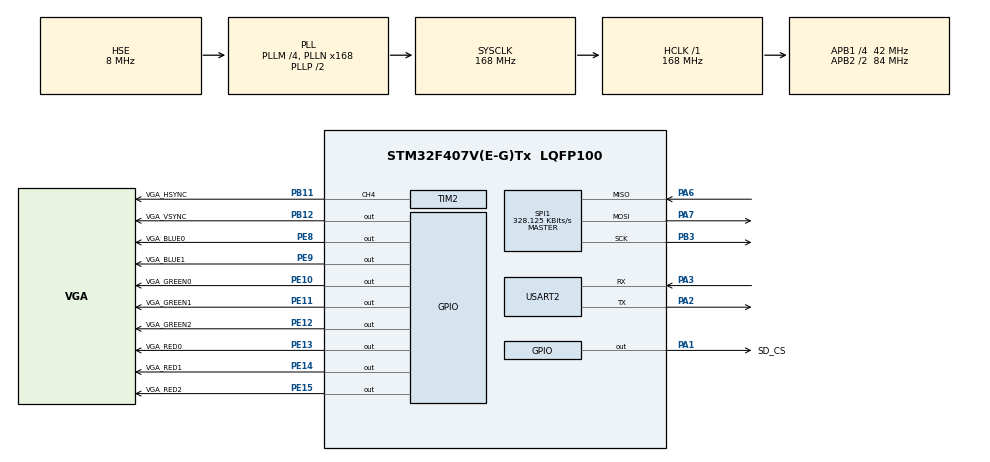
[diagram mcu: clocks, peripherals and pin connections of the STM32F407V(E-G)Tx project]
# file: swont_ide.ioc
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Dma.Request0=TIM1_UP
Dma.TIM1_UP.0.Direction=DMA_MEMORY_TO_PERIPH
Dma.TIM1_UP.0.FIFOMode=DMA_FIFOMODE_DISABLE
Dma.TIM1_UP.0.Instance=DMA2_Stream5
Dma.TIM1_UP.0.MemDataAlignment=DMA_MDATAALIGN_BYTE
Dma.TIM1_UP.0.MemInc=DMA_MINC_ENABLE
Dma.TIM1_UP.0.Mode=DMA_NORMAL
Dma.TIM1_UP.0.PeriphDataAlignment=DMA_PDATAALIGN_BYTE
Dma.TIM1_UP.0.PeriphInc=DMA_PINC_DISABLE
Dma.TIM1_UP.0.Priority=DMA_PRIORITY_VERY_HIGH
Mcu.Family=STM32F4
Mcu.Name=STM32F407V(E-G)Tx
Mcu.Package=LQFP100
NVIC.DMA2_Stream5_IRQn=true\:0\:0\:false\:false\:true\:false\:true\:true
NVIC.PriorityGroup=NVIC_PRIORITYGROUP_4
NVIC.TIM2_IRQn=true\:0\:0\:true\:false\:true\:true\:true\:true
NVIC.USART2_IRQn=true\:0\:0\:false\:false\:true\:true\:true\:true
PA1.GPIO_Label=SD_CS
PA1.GPIO_PuPd=GPIO_PULLUP
PA1.Signal=GPIO_Output
PA13.Mode=Serial_Wire
PA13.Signal=SYS_JTMS-SWDIO
PA14.Mode=Serial_Wire
PA14.Signal=SYS_JTCK-SWCLK
PA2.Mode=Asynchronous
PA2.Signal=USART2_TX
PA3.Mode=Asynchronous
PA3.Signal=USART2_RX
PA6.GPIO_PuPd=GPIO_PULLUP
PA6.Mode=Full_Duplex_Master
PA6.Signal=SPI1_MISO
PA7.GPIO_PuPd=GPIO_PULLUP
PA7.Mode=Full_Duplex_Master
PA7.Signal=SPI1_MOSI
PB11.GPIO_Label=VGA_HSYNC
PB11.GPIO_Speed=GPIO_SPEED_FREQ_VERY_HIGH
PB11.Signal=S_TIM2_CH4
PB12.GPIO_Label=VGA_VSYNC
PB12.GPIO_PuPd=GPIO_NOPULL
PB12.GPIO_Speed=GPIO_SPEED_FREQ_VERY_HIGH
PB12.Signal=GPIO_Output
PB3.GPIO_PuPd=GPIO_PULLUP
PB3.Mode=Full_Duplex_Master
PB3.Signal=SPI1_SCK
PE10.GPIO_Label=VGA_GREEN0
PE10.GPIO_PuPd=GPIO_NOPULL
PE10.GPIO_Speed=GPIO_SPEED_FREQ_VERY_HIGH
PE10.Signal=GPIO_Output
PE11.GPIO_Label=VGA_GREEN1
PE11.GPIO_PuPd=GPIO_NOPULL
PE11.GPIO_Speed=GPIO_SPEED_FREQ_VERY_HIGH
PE11.Signal=GPIO_Output
PE12.GPIO_Label=VGA_GREEN2
PE12.GPIO_PuPd=GPIO_NOPULL
PE12.GPIO_Speed=GPIO_SPEED_FREQ_VERY_HIGH
PE12.Signal=GPIO_Output
PE13.GPIO_Label=VGA_RED0
PE13.GPIO_PuPd=GPIO_NOPULL
PE13.GPIO_Speed=GPIO_SPEED_FREQ_VERY_HIGH
PE13.Signal=GPIO_Output
PE14.GPIO_Label=VGA_RED1
PE14.GPIO_PuPd=GPIO_NOPULL
PE14.GPIO_Speed=GPIO_SPEED_FREQ_VERY_HIGH
PE14.Signal=GPIO_Output
PE15.GPIO_Label=VGA_RED2
PE15.GPIO_PuPd=GPIO_NOPULL
PE15.GPIO_Speed=GPIO_SPEED_FREQ_VERY_HIGH
PE15.Signal=GPIO_Output
PE8.GPIO_Label=VGA_BLUE0
PE8.GPIO_PuPd=GPIO_NOPULL
PE8.GPIO_Speed=GPIO_SPEED_FREQ_VERY_HIGH
PE8.Signal=GPIO_Output
PE9.GPIO_Label=VGA_BLUE1
PE9.GPIO_PuPd=GPIO_NOPULL
PE9.GPIO_Speed=GPIO_SPEED_FREQ_VERY_HIGH
PE9.Signal=GPIO_Output
PH0-OSC_IN.Mode=HSE-External-Oscillator
PH0-OSC_IN.Signal=RCC_OSC_IN
PH1-OSC_OUT.Mode=HSE-External-Oscillator
PH1-OSC_OUT.Signal=RCC_OSC_OUT
ProjectManager.HeapSize=0x200
ProjectManager.StackSize=0x400
ProjectManager.TargetToolchain=STM32CubeIDE
RCC.48MHZClocksFreq_Value=48000000
RCC.AHBFreq_Value=168000000
RCC.APB1CLKDivider=RCC_HCLK_DIV4
RCC.APB1Freq_Value=42000000
RCC.APB1TimFreq_Value=84000000
RCC.APB2CLKDivider=RCC_HCLK_DIV2
RCC.APB2Freq_Value=84000000
RCC.APB2TimFreq_Value=168000000
RCC.CortexFreq_Value=168000000
RCC.HCLKFreq_Value=168000000
RCC.HSE_VALUE=8000000
RCC.HSI_VALUE=16000000
RCC.LSE_VALUE=32768
RCC.PLLM=4
RCC.PLLN=168
RCC.PLLQ=7
RCC.PLLSourceVirtual=RCC_PLLSOURCE_HSE
RCC.SYSCLKFreq_VALUE=168000000
RCC.SYSCLKSource=RCC_SYSCLKSOURCE_PLLCLK
RCC.VCOOutputFreq_Value=336000000
SH.S_TIM2_CH4.0=TIM2_CH4,PWM Generation4 CH4
SPI1.BaudRatePrescaler=SPI_BAUDRATEPRESCALER_256
SPI1.CalculateBaudRate=328.125 KBits/s
SPI1.Direction=SPI_DIRECTION_2LINES
SPI1.Mode=SPI_MODE_MASTER
SPI1.VirtualType=VM_MASTER
TIM1.Period=VGA_TIM1_PERIODE
TIM1.Prescaler=VGA_TIM1_PRESCALE
TIM2.AutoReloadPreload=TIM_AUTORELOAD_PRELOAD_DISABLE
TIM2.Channel-PWM\ Generation3\ No\ Output=TIM_CHANNEL_3
TIM2.Channel-PWM\ Generation4\ CH4=TIM_CHANNEL_4
TIM2.OCPolarity_3=TIM_OCPOLARITY_LOW
TIM2.OCPolarity_4=TIM_OCPOLARITY_LOW
TIM2.Period=VGA_TIM2_HSYNC_PERIODE
TIM2.Prescaler=VGA_TIM2_HSYNC_PRESCALE
TIM2.Pulse-PWM\ Generation3\ No\ Output=VGA_TIM2_HTRIGGER_START - VGA_TIM2_DMA_DELAY
TIM2.Pulse-PWM\ Generation4\ CH4=VGA_TIM2_HSYNC_IMP
USART2.VirtualMode=VM_ASYNC
VP_FATFS_VS_Generic.Mode=User_defined
VP_TIM1_VS_ClockSourceINT.Mode=Internal
VP_TIM2_VS_no_output3.Mode=PWM Generation3 No Output
board=custom

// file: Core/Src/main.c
/* USER CODE BEGIN Header */
/**
  ******************************************************************************
  * @file           : main.c
  * @brief          : Main program body
  ******************************************************************************
  * @attention
  *
  * <h2><center>&copy; Copyright (c) 2020 STMicroelectronics.
  * All rights reserved.</center></h2>
  *
  * This software component is licensed by ST under BSD 3-Clause license,
  * the "License"; You may not use this file except in compliance with the
  * License. You may obtain a copy of the License at:
  *                        opensource.org/licenses/BSD-3-Clause
  *
  ******************************************************************************
  */
/* USER CODE END Header */
#include "main.h"
#include "dma.h"
#include "fatfs.h"
#include "spi.h"
#include "tim.h"
#include "usart.h"
#include "gpio.h"

/* USER CODE BEGIN Includes */

#include <stdio.h>
#include <string.h>
#include <stdarg.h> //for va_list var arg functions
#include <EE-API.h>
/* USER CODE END Includes */

/* USER CODE BEGIN PV */

input_vars input;

Message_parser Debugging;

volatile char container[1024];
volatile int temp;
volatile int key;
int err;
/* USER CODE END PV */

void SystemClock_Config(void);
/* USER CODE BEGIN PFP */
void myprintf(const char *fmt, ...);
/* USER CODE END PFP */

/* USER CODE BEGIN 0 */
void myprintf(const char *fmt, ...) {
  static char buffer[256];
  va_list args;
  va_start(args, fmt);
  vsnprintf(buffer, sizeof(buffer), fmt, args);
  va_end(args);

  int len = strlen(buffer);
  HAL_UART_Transmit(&huart2, (uint8_t*)buffer, len, -1);

}
/* USER CODE END 0 */

int main(void)
{

  /* MCU Configuration--------------------------------------------------------*/

  /* Reset of all peripherals, Initializes the Flash interface and the Systick. */
	HAL_Init();

  /* Configure the system clock */
  SystemClock_Config();

  /* Initialize all configured peripherals */
  MX_GPIO_Init();
  MX_DMA_Init();
  MX_TIM1_Init();
  MX_TIM2_Init();
  MX_USART2_UART_Init();
  MX_FATFS_Init();
  MX_SPI1_Init();
  /* USER CODE BEGIN 2 */

  UB_VGA_Screen_Init(); // Init VGA-Screen

  UB_VGA_FillScreen(VGA_COL_BLACK);
  unsigned int i = 0;
  for(i = 0; i < LINE_BUFLEN; i++)
	  input.line_rx_buffer[i] = 0;

  // Reset some stuff
  input.byte_buffer_rx[0] = 0;
  input.char_counter = 0;
  input.command_execute_flag = FALSE;

  // HAl wants a memory location to store the charachter it receives from the UART
  // We will pass it an array, but we will not use it. We declare our own variable in the interupt handler
  // See stm32f4xx_it.c
  HAL_UART_Receive_IT(&huart2, input.byte_buffer_rx, LINE_BUFLEN);

  int Test = 0;
  /* USER CODE END 2 */

  /* Infinite loop */
  /* USER CODE BEGIN WHILE */
  while (1)
  {
	  if(input.command_execute_flag == TRUE)
	  {
		  Debugging = LogicLayer_Parser(input.line_rx_buffer, LINE_BUFLEN);
		  Test = LogicLayer_CommandCheck(&Debugging);
		  if (Test == 0)
		  {
			  //error handler
		  }
		  else
		  {
			  LogicLayer_CommandSwitch(&Debugging, Test);
		  }
		  for(i = 0; i < LINE_BUFLEN; i++)
			  input.line_rx_buffer[i] = 0;
		  for (i = 0; i < ARGUMENTEN_LEN; i++)
			  for (int j = 0; j < BUFFER_LEN_PARSER; j++)
				  Debugging.Parser_Message[i][j] = 0;
		  // When finished reset the flag
		  input.command_execute_flag = FALSE;
	  }
    /* USER CODE END WHILE */

  }
}

void SystemClock_Config(void)
{
  RCC_OscInitTypeDef RCC_OscInitStruct = {0};
  RCC_ClkInitTypeDef RCC_ClkInitStruct = {0};

  /** Configure the main internal regulator output voltage
  */
  __HAL_RCC_PWR_CLK_ENABLE();
  __HAL_PWR_VOLTAGESCALING_CONFIG(PWR_REGULATOR_VOLTAGE_SCALE1);

  /** Initializes the RCC Oscillators according to the specified parameters
  * in the RCC_OscInitTypeDef structure.
  */
  RCC_OscInitStruct.OscillatorType = RCC_OSCILLATORTYPE_HSE;
  RCC_OscInitStruct.HSEState = RCC_HSE_ON;
  RCC_OscInitStruct.PLL.PLLState = RCC_PLL_ON;
  RCC_OscInitStruct.PLL.PLLSource = RCC_PLLSOURCE_HSE;
  RCC_OscInitStruct.PLL.PLLM = 4;
  RCC_OscInitStruct.PLL.PLLN = 168;
  RCC_OscInitStruct.PLL.PLLP = RCC_PLLP_DIV2;
  RCC_OscInitStruct.PLL.PLLQ = 7;
  if (HAL_RCC_OscConfig(&RCC_OscInitStruct) != HAL_OK)
  {
    Error_Handler();
  }

  /** Initializes the CPU, AHB and APB buses clocks
  */
  RCC_ClkInitStruct.ClockType = RCC_CLOCKTYPE_HCLK|RCC_CLOCKTYPE_SYSCLK
                              |RCC_CLOCKTYPE_PCLK1|RCC_CLOCKTYPE_PCLK2;
  RCC_ClkInitStruct.SYSCLKSource = RCC_SYSCLKSOURCE_PLLCLK;
  RCC_ClkInitStruct.AHBCLKDivider = RCC_SYSCLK_DIV1;
  RCC_ClkInitStruct.APB1CLKDivider = RCC_HCLK_DIV4;
  RCC_ClkInitStruct.APB2CLKDivider = RCC_HCLK_DIV2;

  if (HAL_RCC_ClockConfig(&RCC_ClkInitStruct, FLASH_LATENCY_5) != HAL_OK)
  {
    Error_Handler();
  }
}

/* USER CODE BEGIN 4 */

#ifdef __GNUC__
	#define USART_PRINTF int __io_putchar(int ch)		//With GCC/RAISONANCE printf calls __io_putchar()
#else
	#define USART_PRINTF int fputc(int ch, FILE *f)		//With other compiler printf calls fputc()
#endif /* __GNUC__ */

//Retargets the C library printf function to the USART
USART_PRINTF
{
	HAL_UART_Transmit(&huart2, (uint8_t *)&ch, 1, 0xFFFF);	//Write character to UART2
	return ch;												//Return the character
}

/* USER CODE END 4 */

void Error_Handler(void)
{
}
